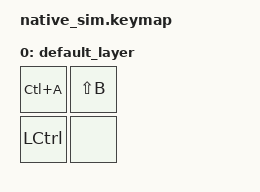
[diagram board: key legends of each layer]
#include <dt-bindings/zmk/keys.h>
#include <behaviors.dtsi>
#include <dt-bindings/zmk/input_matrix_mock.h>


&matrix {
    events = <
        ZMK_MOCK_PRESS(1,0,10)
        ZMK_MOCK_PRESS(0,1,10)
        ZMK_MOCK_RELEASE(0,1,10)
        ZMK_MOCK_RELEASE(1,0,10)
    >;
};

/ {
    keymap {
        compatible = "zmk,keymap";

        default_layer {
            bindings = <
                &kp LC(A) &kp LS(B)
                &kp LEFT_CONTROL &none
            >;
        };
    };
};
